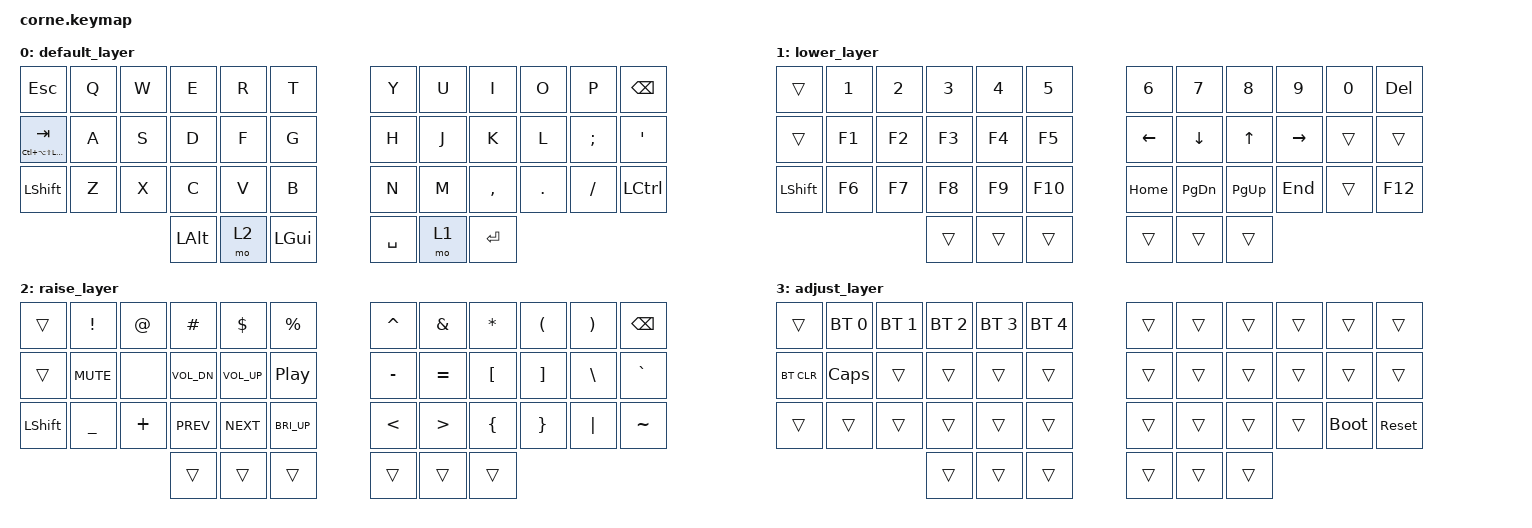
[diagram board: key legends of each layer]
/*
 * Copyright (c) 2020 The ZMK Contributors
 *
 * SPDX-License-Identifier: MIT
 */

#include <behaviors.dtsi>
#include <dt-bindings/zmk/bt.h>
#include <dt-bindings/zmk/keys.h>

#define HYPER LC(LA(LS(LGUI)))

// Định nghĩa tên các Layer

#define DEF 0
#define LWR 1
#define RSE 2
#define ADJ 3

/ {
    // 1. Tự động kích hoạt Layer Adjust khi giữ đồng thời Lower + Raise

    conditional_layers {
        compatible = "zmk,conditional-layers";

        tri_layer {
            if-layers = <LWR RSE>;
            then-layer = <ADJ>;
        };
    };

    behaviors {
        // Cấu hình phím đa năng: Giữ là Hyper, gõ nhẹ là Tab

        mt_hyper_tab: mt_hyper_tab {
            compatible = "zmk,behavior-hold-tap";
            label = "MOD_TAP_HYPER_TAB";
            #binding-cells = <2>;
            tapping-term-ms = <200>;
            quick-tap-ms = <0>;
            flavor = "tap-preferred";
            bindings = <&kp>, <&kp>;
        };
    };

    keymap {
        compatible = "zmk,keymap";

        default_layer {
            // LAYER 0: DEFAULT
            // -----------------------------------------------------------------------------------------
            // |  ESC   |  Q  |  W  |  E  |  R  |  T  |   |  Y  |  U   |  I  |  O  |  P  | BKSP |
            // |HYPER/TB|  A  |  S  |  D  |  F  |  G  |   |  H  |  J   |  K  |  L  |  ;  |  '   |
            // | SHFT   |  Z  |  X  |  C  |  V  |  B  |   |  N  |  M   |  ,  |  .  |  /  | CTRL |
            //                    | ALT | RSE | CMD |   | SPC | LWR  | ENT |

            bindings = <
&kp ESC                  &kp Q  &kp W  &kp E     &kp R  &kp T       &kp Y      &kp U  &kp I      &kp O    &kp P     &kp BSPC
&mt_hyper_tab HYPER TAB  &kp A  &kp S  &kp D     &kp F  &kp G       &kp H      &kp J  &kp K      &kp L    &kp SEMI  &kp SQT
&kp LSHFT                &kp Z  &kp X  &kp C     &kp V  &kp B       &kp N      &kp M  &kp COMMA  &kp DOT  &kp FSLH  &kp LCTRL
                                       &kp LALT  &mo 2  &kp LGUI    &kp SPACE  &mo 1  &kp RET
            >;
        };

        lower_layer {
            // LAYER 1: SỐ - F_KEYS - NAV
            // -----------------------------------------------------------------------------------------
            // |  TAB |  1  |  2  |  3  |  4  |  5  |   |  6  |  7  |  8  |  9  |  0  | DEL  |
            // |      | F1  | F2  | F3  | F4  | F5  |   | LFT | DWN |  UP | RGT |     |      |
            // | SHFT | F6  | F7  | F8  | F9  | F10 |   | HOME| PGDN| PGUP| END |     | F12  |
            //                    |     |     |     |   |     |     |     |

            bindings = <
&trans     &kp N1  &kp N2  &kp N3  &kp N4  &kp N5     &kp N6    &kp N7     &kp N8     &kp N9     &kp N0  &kp DEL
&trans     &kp F1  &kp F2  &kp F3  &kp F4  &kp F5     &kp LEFT  &kp DOWN   &kp UP     &kp RIGHT  &trans  &trans
&kp LSHFT  &kp F6  &kp F7  &kp F8  &kp F9  &kp F10    &kp HOME  &kp PG_DN  &kp PG_UP  &kp END    &trans  &kp F12
                           &trans  &trans  &trans     &trans    &trans     &trans
            >;
        };

        raise_layer {
            // LAYER 2: SYMBOLS - MEDIA
            // -----------------------------------------------------------------------------------------
            // | TAB  |  !  |  @  |  #  |  $  |  %  |   |  ^  |  &  |  * |  (  |  )  | BSPC |
            // | CTRL | MUTE| SHOT| VOL-| VOL+| PLAY|   |  -  |  =  |  [  |  ]  |  \  |  `   |
            // | SHFT |  _  |  +  | PREV| NEXT| BRI+|   |  <  |  >  |  {  |  }  | "|" |  ~   |
            //                    |     |     |     |   |     |     |     |

            bindings = <
&trans     &kp EXCL    &kp AT    &kp HASH      &kp DLLR      &kp PRCNT       &kp CARET  &kp AMPS   &kp STAR  &kp LPAR  &kp RPAR  &kp BSPC
&trans     &kp C_MUTE  &none     &kp C_VOL_DN  &kp C_VOL_UP  &kp C_PP        &kp MINUS  &kp EQUAL  &kp LBKT  &kp RBKT  &kp BSLH  &kp GRAVE
&kp LSHFT  &kp UNDER   &kp PLUS  &kp C_PREV    &kp C_NEXT    &kp C_BRI_UP    &kp LT     &kp GT     &kp LBRC  &kp RBRC  &kp PIPE  &kp TILDE
                                 &trans        &trans        &trans          &trans     &trans     &trans
            >;
        };

        adjust_layer {
            // LAYER 3: BLUETOOTH - SYSTEM - CAPSLOCK
            // Kích hoạt bằng cách giữ đồng thời cả 2 phím ngón cái (Lower + Raise)
            // -----------------------------------------------------------------------------------------
            // |      | BT1 | BT2 | BT3 | BT4 | BT5 |   |     |     |     |     |     |      |
            // | BTCLR| CAPS|     |     |     |     |   |     |     |     |     |     |      |
            // |      |     |     |     |     |     |   |     |     |     |     | BOOT| RESET|
            //                    |     |     |     |   |     |     |     |

            bindings = <
&trans      &bt BT_SEL 0  &bt BT_SEL 1  &bt BT_SEL 2  &bt BT_SEL 3  &bt BT_SEL 4    &trans  &trans  &trans  &trans  &trans       &trans
&bt BT_CLR  &kp CAPS      &trans        &trans        &trans        &trans          &trans  &trans  &trans  &trans  &trans       &trans
&trans      &trans        &trans        &trans        &trans        &trans          &trans  &trans  &trans  &trans  &bootloader  &sys_reset
                                        &trans        &trans        &trans          &trans  &trans  &trans
            >;
        };
    };
};
